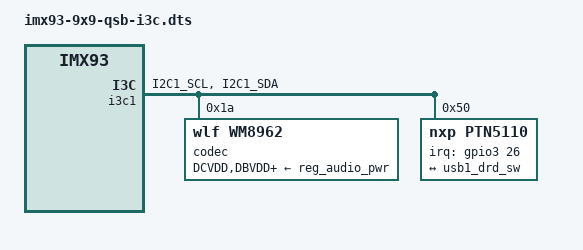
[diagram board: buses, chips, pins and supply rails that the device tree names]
// SPDX-License-Identifier: (GPL-2.0+ OR MIT)
/*
 * Copyright 2022 NXP
 */

#include "imx93-9x9-qsb.dts"
#include <dt-bindings/i3c/i3c.h>

/{
	aliases {
		/delete-property/ i2c0;
	};
};

/delete-node/&lpi2c1;

&i3c1 {
	pinctrl-names = "default";
	pinctrl-0 = <&pinctrl_i3c1>;
	i2c-scl-hz = <400000>;
	status = "okay";

	/* i2c device */
	codec: wm8962@1a {
		compatible = "wlf,wm8962";
		reg = <0x1a 0x00 (I2C_FM | I2C_NO_FILTER_LOW_FREQUENCY)>;
		clocks = <&clk IMX93_CLK_SAI3_GATE>;
		DCVDD-supply = <&reg_audio_pwr>;
		DBVDD-supply = <&reg_audio_pwr>;
		AVDD-supply = <&reg_audio_pwr>;
		CPVDD-supply = <&reg_audio_pwr>;
		MICVDD-supply = <&reg_audio_pwr>;
		PLLVDD-supply = <&reg_audio_pwr>;
		SPKVDD1-supply = <&reg_audio_pwr>;
		SPKVDD2-supply = <&reg_audio_pwr>;
		gpio-cfg = <
			0x0000 /* 0:Default */
			0x0000 /* 1:Default */
			0x0000 /* 2:FN_DMICCLK */
			0x0000 /* 3:Default */
			0x0000 /* 4:FN_DMICCDAT */
			0x0000 /* 5:Default */
		>;
	};

	ptn5110: tcpc@50 {
		compatible = "nxp,ptn5110";
		reg = <0x50 0x00 (I2C_FM | I2C_NO_FILTER_LOW_FREQUENCY)>;
		interrupt-parent = <&gpio3>;
		interrupts = <26 IRQ_TYPE_LEVEL_LOW>;
		status = "okay";

		port {
			typec1_dr_sw: endpoint {
				remote-endpoint = <&usb1_drd_sw>;
			};
		};

		typec1_con: connector {
			compatible = "usb-c-connector";
			label = "USB-C";
			power-role = "dual";
			data-role = "dual";
			try-power-role = "sink";
			source-pdos = <PDO_FIXED(5000, 3000, PDO_FIXED_USB_COMM)>;
			sink-pdos = <PDO_FIXED(5000, 3000, PDO_FIXED_USB_COMM)
				     PDO_VAR(5000, 20000, 3000)>;
			op-sink-microwatt = <15000000>;
			self-powered;
		};
	};
};

&iomuxc {
	pinctrl_i3c1: i3c1grp {
		fsl,pins = <
			MX93_PAD_I2C1_SCL__I3C1_SCL	0x40000186
			MX93_PAD_I2C1_SDA__I3C1_SDA	0x40000186
		>;
	};
};
